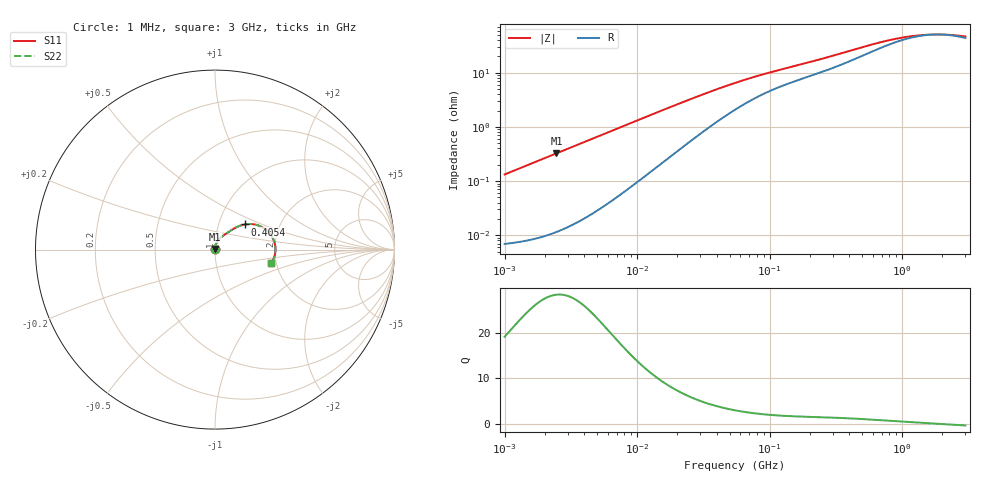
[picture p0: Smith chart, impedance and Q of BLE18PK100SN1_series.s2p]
! BLE18PK100SN1
# Hz S RI R 50
!Freq.(Hz) S11(Real) S11(Imag) S21(Real) S21(Imag) S12(Real) S12(Imag) S22(Real) S22(Imag)
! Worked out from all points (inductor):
!   401 points, 1 MHz to 3 GHz, reference 50 ohm
!   read as one part in series: L = 21 nH near 1.041 MHz
!   highest Q = 28.4 at 2.461 MHz (marker M1), where L = 21 nH
!   self-resonance near 1.861 GHz
!   S11 on the Smith chart (normalised r, x): 1 MHz: 1.00, +0.00; 405.4 MHz: 1.33, +0.39; 3 GHz: 1.88, -0.32
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1000000  7.07e-05 0.00132  0.9999 -0.00132  0.9999 -0.00132  7.07e-05 0.00132
1040844  7.16e-05 0.00137  0.9999 -0.00137  0.9999 -0.00137  7.16e-05 0.00137
2461366  0.000125 0.00325  0.9999 -0.00325  0.9999 -0.00325  0.000125 0.00325
3823119  0.000217 0.00504  0.9998 -0.00504  0.9998 -0.00504  0.000217 0.00504
1.461624e7  0.0023 0.0189  0.9977 -0.0189  0.9977 -0.0189  0.0023 0.0189
2.225279e7  0.00508 0.0282  0.9949 -0.0282  0.9949 -0.0282  0.00508 0.0282
3.127247e7  0.00945 0.0382  0.9905 -0.0382  0.9905 -0.0382  0.00945 0.0382
4.22235e7  0.0158 0.0487  0.9842 -0.0487  0.9842 -0.0487  0.0158 0.0487
5.477226e7  0.0238 0.0587  0.9762 -0.0587  0.9762 -0.0587  0.0238 0.0587
7.105049e7  0.0342 0.0688  0.9658 -0.0688  0.9658 -0.0688  0.0342 0.0688
9.216659e7  0.0466 0.0785  0.9534 -0.0785  0.9534 -0.0785  0.0466 0.0785
2.094008e8  0.0958 0.1113  0.9042 -0.1113  0.9042 -0.1113  0.0958 0.1113
2.942768e8  0.1259 0.1276  0.8741 -0.1276  0.8741 -0.1276  0.1259 0.1276
4.0536e8  0.1647 0.1399  0.8353 -0.1399  0.8353 -0.1399  0.1647 0.1399
5.81181e8  0.2194 0.1402  0.7806 -0.1402  0.7806 -0.1402  0.2194 0.1402
8.005644e8  0.2696 0.1211  0.7304 -0.1211  0.7304 -0.1211  0.2696 0.1211
9.395906e8  0.2916 0.1043  0.7084 -0.1043  0.7084 -0.1043  0.2916 0.1043
1.125055e9  0.312 0.0808  0.688 -0.0808  0.688 -0.0808  0.312 0.0808
1.347129e9  0.3267 0.0536  0.6733 -0.0536  0.6733 -0.0536  0.3267 0.0536
1.581072e9  0.3344 0.0275  0.6656 -0.0275  0.6656 -0.0275  0.3344 0.0275
2.134733e9  0.3348 -0.0232  0.6652 0.0232  0.6652 0.0232  0.3348 -0.0232
3e9  0.3131 -0.0769  0.6869 0.0769  0.6869 0.0769  0.3131 -0.0769
